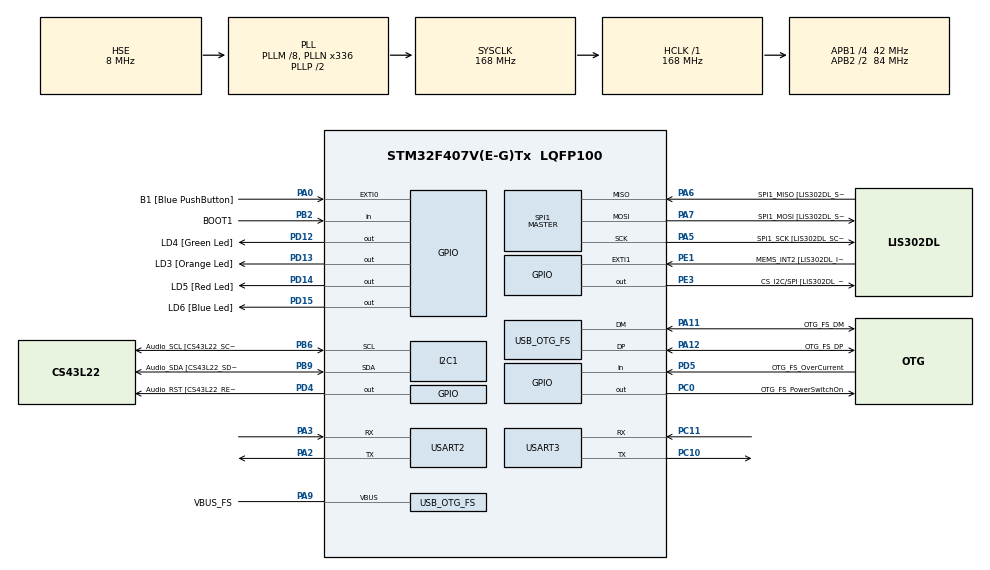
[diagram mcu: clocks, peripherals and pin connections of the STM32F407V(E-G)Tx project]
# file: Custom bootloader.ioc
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Mcu.Family=STM32F4
Mcu.Name=STM32F407V(E-G)Tx
Mcu.Package=LQFP100
NVIC.OTG_FS_IRQn=true\:0\:0\:false\:false\:true\:true\:true
NVIC.PriorityGroup=NVIC_PRIORITYGROUP_0
PA0-WKUP.GPIO_Label=B1 [Blue PushButton]
PA0-WKUP.GPIO_ModeDefaultEXTI=GPIO_MODE_EVT_RISING
PA0-WKUP.GPIO_PuPd=GPIO_NOPULL
PA0-WKUP.Signal=GPXTI0
PA10.GPIO_Label=OTG_FS_ID
PA10.GPIO_Mode=GPIO_MODE_AF_PP
PA10.GPIO_PuPd=GPIO_NOPULL
PA10.GPIO_Speed=GPIO_SPEED_FREQ_LOW
PA10.Signal=USB_OTG_FS_ID
PA11.GPIO_Label=OTG_FS_DM
PA11.GPIO_Mode=GPIO_MODE_AF_PP
PA11.GPIO_PuPd=GPIO_NOPULL
PA11.GPIO_Speed=GPIO_SPEED_FREQ_LOW
PA11.Mode=Host_Only
PA11.Signal=USB_OTG_FS_DM
PA12.GPIO_Label=OTG_FS_DP
PA12.GPIO_Mode=GPIO_MODE_AF_PP
PA12.GPIO_PuPd=GPIO_NOPULL
PA12.GPIO_Speed=GPIO_SPEED_FREQ_LOW
PA12.Mode=Host_Only
PA12.Signal=USB_OTG_FS_DP
PA13.GPIO_Label=SWDIO
PA13.Mode=Serial_Wire
PA13.Signal=SYS_JTMS-SWDIO
PA14.GPIO_Label=SWCLK
PA14.Mode=Serial_Wire
PA14.Signal=SYS_JTCK-SWCLK
PA2.Mode=Asynchronous
PA2.Signal=USART2_TX
PA3.Mode=Asynchronous
PA3.Signal=USART2_RX
PA4.GPIO_Label=I2S3_WS [CS43L22_LRCK]
PA4.GPIO_Mode=GPIO_MODE_AF_PP
PA4.GPIO_PuPd=GPIO_NOPULL
PA4.GPIO_Speed=GPIO_SPEED_FREQ_LOW
PA4.Signal=I2S3_WS
PA5.GPIO_Label=SPI1_SCK [LIS302DL_SCL/SPC]
PA5.GPIO_Mode=GPIO_MODE_AF_PP
PA5.GPIO_PuPd=GPIO_NOPULL
PA5.GPIO_Speed=GPIO_SPEED_FREQ_LOW
PA5.Mode=Full_Duplex_Master
PA5.Signal=SPI1_SCK
PA6.GPIO_Label=SPI1_MISO [LIS302DL_SDO]
PA6.GPIO_Mode=GPIO_MODE_AF_PP
PA6.GPIO_PuPd=GPIO_NOPULL
PA6.GPIO_Speed=GPIO_SPEED_FREQ_LOW
PA6.Mode=Full_Duplex_Master
PA6.Signal=SPI1_MISO
PA7.GPIO_Label=SPI1_MOSI [LIS302DL_SDA/SDI/SDO]
PA7.GPIO_Mode=GPIO_MODE_AF_PP
PA7.GPIO_PuPd=GPIO_NOPULL
PA7.GPIO_Speed=GPIO_SPEED_FREQ_LOW
PA7.Mode=Full_Duplex_Master
PA7.Signal=SPI1_MOSI
PA9.GPIO_Label=VBUS_FS
PA9.GPIO_Mode=GPIO_MODE_INPUT
PA9.GPIO_PuPd=GPIO_NOPULL
PA9.Mode=Activate_VBUS
PA9.Signal=USB_OTG_FS_VBUS
PB10.GPIO_Label=CLK_IN [MP45DT02_CLK]
PB10.GPIO_Mode=GPIO_MODE_AF_PP
PB10.GPIO_PuPd=GPIO_NOPULL
PB10.GPIO_Speed=GPIO_SPEED_FREQ_LOW
PB10.Signal=I2S2_CK
PB2.GPIO_Label=BOOT1
PB2.GPIO_Mode=GPIO_MODE_INPUT
PB2.GPIO_PuPd=GPIO_NOPULL
PB2.Signal=GPIO_Input
PB3.GPIO_Label=SWO
PB3.Signal=SYS_JTDO-SWO
PB6.GPIO_Label=Audio_SCL [CS43L22_SCL]
PB6.GPIO_Mode=GPIO_MODE_AF_OD
PB6.GPIO_PuPd=GPIO_NOPULL
PB6.GPIO_Speed=GPIO_SPEED_FREQ_LOW
PB6.Mode=I2C
PB6.Signal=I2C1_SCL
PB9.GPIO_Label=Audio_SDA [CS43L22_SDA]
PB9.GPIO_Mode=GPIO_MODE_AF_OD
PB9.GPIO_PuPd=GPIO_NOPULL
PB9.GPIO_Speed=GPIO_SPEED_FREQ_LOW
PB9.Mode=I2C
PB9.Signal=I2C1_SDA
PC0.GPIO_Label=OTG_FS_PowerSwitchOn
PC0.GPIO_PuPd=GPIO_NOPULL
PC0.GPIO_Speed=GPIO_SPEED_FREQ_LOW
PC0.PinState=GPIO_PIN_SET
PC0.Signal=GPIO_Output
PC10.Mode=Asynchronous
PC10.Signal=USART3_TX
PC11.Mode=Asynchronous
PC11.Signal=USART3_RX
PC12.GPIO_Label=I2S3_SD [CS43L22_SDIN]
PC12.GPIO_Mode=GPIO_MODE_AF_PP
PC12.GPIO_PuPd=GPIO_NOPULL
PC12.GPIO_Speed=GPIO_SPEED_FREQ_LOW
PC12.Signal=I2S3_SD
PC14-OSC32_IN.GPIO_Label=PC14-OSC32_IN
PC14-OSC32_IN.Mode=LSE-External-Oscillator
PC14-OSC32_IN.Signal=RCC_OSC32_IN
PC15-OSC32_OUT.GPIO_Label=PC15-OSC32_OUT
PC15-OSC32_OUT.Mode=LSE-External-Oscillator
PC15-OSC32_OUT.Signal=RCC_OSC32_OUT
PC3.GPIO_Label=PDM_OUT [MP45DT02_DOUT]
PC3.GPIO_Mode=GPIO_MODE_AF_PP
PC3.GPIO_PuPd=GPIO_NOPULL
PC3.GPIO_Speed=GPIO_SPEED_FREQ_LOW
PC3.Signal=I2S2_SD
PC7.GPIO_Label=I2S3_MCK [CS43L22_MCLK]
PC7.GPIO_Mode=GPIO_MODE_AF_PP
PC7.GPIO_PuPd=GPIO_NOPULL
PC7.GPIO_Speed=GPIO_SPEED_FREQ_LOW
PC7.Signal=I2S3_MCK
PD12.GPIO_Label=LD4 [Green Led]
PD12.GPIO_PuPd=GPIO_NOPULL
PD12.GPIO_Speed=GPIO_SPEED_FREQ_LOW
PD12.Signal=GPIO_Output
PD13.GPIO_Label=LD3 [Orange Led]
PD13.GPIO_PuPd=GPIO_NOPULL
PD13.GPIO_Speed=GPIO_SPEED_FREQ_LOW
PD13.Signal=GPIO_Output
PD14.GPIO_Label=LD5 [Red Led]
PD14.GPIO_PuPd=GPIO_NOPULL
PD14.GPIO_Speed=GPIO_SPEED_FREQ_LOW
PD14.Signal=GPIO_Output
PD15.GPIO_Label=LD6 [Blue Led]
PD15.GPIO_PuPd=GPIO_NOPULL
PD15.GPIO_Speed=GPIO_SPEED_FREQ_LOW
PD15.Signal=GPIO_Output
PD4.GPIO_Label=Audio_RST [CS43L22_RESET]
PD4.GPIO_PuPd=GPIO_NOPULL
PD4.GPIO_Speed=GPIO_SPEED_FREQ_LOW
PD4.Signal=GPIO_Output
PD5.GPIO_Label=OTG_FS_OverCurrent
PD5.GPIO_Mode=GPIO_MODE_INPUT
PD5.GPIO_PuPd=GPIO_NOPULL
PD5.Signal=GPIO_Input
PE1.GPIO_Label=MEMS_INT2 [LIS302DL_INT2]
PE1.GPIO_ModeDefaultEXTI=GPIO_MODE_EVT_RISING
PE1.GPIO_PuPd=GPIO_NOPULL
PE1.Signal=GPXTI1
PE3.GPIO_Label=CS_I2C/SPI [LIS302DL_CS_I2C/SPI]
PE3.GPIO_PuPd=GPIO_NOPULL
PE3.GPIO_Speed=GPIO_SPEED_FREQ_LOW
PE3.Signal=GPIO_Output
PH0-OSC_IN.GPIO_Label=PH0-OSC_IN
PH0-OSC_IN.Mode=HSE-External-Oscillator
PH0-OSC_IN.Signal=RCC_OSC_IN
PH1-OSC_OUT.GPIO_Label=PH1-OSC_OUT
PH1-OSC_OUT.Mode=HSE-External-Oscillator
PH1-OSC_OUT.Signal=RCC_OSC_OUT
ProjectManager.HeapSize=0x200
ProjectManager.StackSize=0x400
ProjectManager.TargetToolchain=MDK-ARM V5.27
RCC.48MHZClocksFreq_Value=48000000
RCC.AHBFreq_Value=168000000
RCC.APB1CLKDivider=RCC_HCLK_DIV4
RCC.APB1Freq_Value=42000000
RCC.APB1TimFreq_Value=84000000
RCC.APB2CLKDivider=RCC_HCLK_DIV2
RCC.APB2Freq_Value=84000000
RCC.APB2TimFreq_Value=168000000
RCC.CortexFreq_Value=168000000
RCC.HCLKFreq_Value=168000000
RCC.HSE_VALUE=8000000
RCC.HSI_VALUE=16000000
RCC.PLLM=8
RCC.PLLN=336
RCC.PLLQ=7
RCC.SYSCLKFreq_VALUE=168000000
RCC.SYSCLKSource=RCC_SYSCLKSOURCE_PLLCLK
RCC.VCOOutputFreq_Value=336000000
SPI1.BaudRatePrescaler-Full_Duplex_Master=SPI_BAUDRATEPRESCALER_2
SPI1.CalculateBaudRate-Full_Duplex_Master=42.0 MBits/s
SPI1.Direction=SPI_DIRECTION_2LINES
SPI1.Mode=SPI_MODE_MASTER
SPI1.Mode-Full_Duplex_Master=SPI_MODE_MASTER
SPI1.VirtualType=VM_MASTER
USART2.VirtualMode=VM_ASYNC
USART3.VirtualMode=VM_ASYNC
USB_OTG_FS.VirtualMode=Host_Only
USB_OTG_FS.phy_itface=HCD_PHY_EMBEDDED
VP_CRC_VS_CRC.Mode=CRC_Activate
board=STM32F407G-DISC1

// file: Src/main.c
/* USER CODE BEGIN Header */
/**
  ******************************************************************************
  * @file           : main.c
  * @brief          : Main program body
  ******************************************************************************
  * @attention
  *
  * <h2><center>&copy; Copyright (c) 2019 STMicroelectronics.
  * All rights reserved.</center></h2>
  *
  * This software component is licensed by ST under Ultimate Liberty license
  * SLA0044, the "License"; You may not use this file except in compliance with
  * the License. You may obtain a copy of the License at:
  *                             www.st.com/SLA0044
  *
  ******************************************************************************
  */
/* USER CODE END Header */

#include "main.h"

/* USER CODE BEGIN Includes */
#include <stdarg.h>
#include <string.h>
/* USER CODE END Includes */

/* USER CODE BEGIN PM */
#define FBL_DEBUG_MSG_EN
#define	FBL_UART_RX_LEN					(200U)

/* Define length response for each command */
#define FBL_GET_VERSION_ANSWER_LENGTH					(1U)
#define FBL_GET_CID_ANSWER_LENGTH							(2U)
#define FBL_GET_RDP_ANSWER_LENGTH							(1U)
#define FBL_GO_TO_ADDRESS_ANSWER_LENGTH		    (1U)
#define FBL_ERASE_ANSWER_LENGTH		    				(1U)
#define FBL_WRITE_ANSWER_LENGTH		    				(1U)
#define FBL_RW_PROTECT_LENGTH									(2U)

#define FBL_GENERIC_NO_ERROR									(0xCC)
#define FBL_GENERIC_ERROR											(0xAA)

#define FBL_ADDRESS_INVALID										(0x0C)
#define FBL_ADDRESS_VALID											(0x0A)

#define FBL_INVALID_SECTOR_NUMBER							(0x0D)
#define FBL_INVALID_NUMBER_SECTORS						(0x0B)
/* USER CODE END PM */

CRC_HandleTypeDef hcrc;

I2C_HandleTypeDef hi2c1;

SPI_HandleTypeDef hspi1;

UART_HandleTypeDef huart2;
UART_HandleTypeDef huart3;

HCD_HandleTypeDef hhcd_USB_OTG_FS;

/* USER CODE BEGIN PV */

#define FBL_UART_CHANNEL_DEBUG_INTERFACE				(&huart3)

uint8_t auc8UartRxBuffer[FBL_UART_RX_LEN];

uint8_t aucSupportedCommands[] = {
															 FBL_FLASH_BINARY_FILE,
                               FBL_GET_VER ,
                               FBL_GET_HELP,
                               FBL_GET_CID,
                               FBL_GET_RDP_STATUS,
                               FBL_GO_TO_ADDR,
                               FBL_FLASH_ERASE,
                               FBL_MEM_WRITE,
															 FBL_EN_RW_PROTECT,
														   FBL_MEM_READ,
                               FBL_READ_SECTOR_P_STATUS,
															 FBL_OTP_READ,
															 FBL_DIS_R_W_PROTECT} ;

/* USER CODE END PV */

void SystemClock_Config(void);
static void MX_GPIO_Init(void);
static void MX_CRC_Init(void);
static void MX_I2C1_Init(void);
static void MX_SPI1_Init(void);
static void MX_USART2_UART_Init(void);
static void MX_USB_OTG_FS_HCD_Init(void);
static void MX_USART3_UART_Init(void);
/* USER CODE BEGIN PFP */
static void FBL_vPrintMsg(char *format,...);
uint16_t FBL_Get_Mcu_ID(void);
uint8_t FBL_Get_RDP(void);
uint16_t FBL_Verify_Address(uint32_t ulAddress);
uint8_t FBL_ucExecute_MemoryWrite(uint8_t *pucBuffer, uint32_t ulAddress, uint32_t ulLen);
uint8_t FBL_ucExecute_MemoryRead(uint32_t ulAddress, uint8_t ucLen);
uint8_t FBL_Modify_RW_Protection(uint8_t u8Sectors, uint8_t u8ProtectionMode, uint8_t uc8EN);
uint16_t FBL_vRw_ProtectionStatus(void);
/* USER CODE END PFP */

int main(void)
{

  /* MCU Configuration--------------------------------------------------------*/

  /* Reset of all peripherals, Initializes the Flash interface and the Systick. */
  HAL_Init();

  /* Configure the system clock */
  SystemClock_Config();

  /* Initialize all configured peripherals */
  MX_GPIO_Init();
  MX_CRC_Init();
  MX_I2C1_Init();
  MX_SPI1_Init();
  MX_USART2_UART_Init();
  MX_USB_OTG_FS_HCD_Init();
  MX_USART3_UART_Init();
  /* USER CODE BEGIN 2 */
	char somedata[] = "Hello from the bootloader";
  /* USER CODE END 2 */

  /* Infinite loop */
  while (1)
  {

    /* USER CODE BEGIN 3 */

		FBL_vPrintMsg("FBL\n");
		uint32_t ul32CurrentTickValue = HAL_GetTick();
		while ( HAL_GetTick() <= (ul32CurrentTickValue + 500));
		//

		FBL_vUartReadData();

  }
  /* USER CODE END 3 */
}

void SystemClock_Config(void)
{
  RCC_OscInitTypeDef RCC_OscInitStruct = {0};
  RCC_ClkInitTypeDef RCC_ClkInitStruct = {0};

  /** Configure the main internal regulator output voltage
  */
  __HAL_RCC_PWR_CLK_ENABLE();
  __HAL_PWR_VOLTAGESCALING_CONFIG(PWR_REGULATOR_VOLTAGE_SCALE1);
  /** Initializes the CPU, AHB and APB busses clocks
  */
  RCC_OscInitStruct.OscillatorType = RCC_OSCILLATORTYPE_HSE;
  RCC_OscInitStruct.HSEState = RCC_HSE_ON;
  RCC_OscInitStruct.PLL.PLLState = RCC_PLL_ON;
  RCC_OscInitStruct.PLL.PLLSource = RCC_PLLSOURCE_HSE;
  RCC_OscInitStruct.PLL.PLLM = 8;
  RCC_OscInitStruct.PLL.PLLN = 336;
  RCC_OscInitStruct.PLL.PLLP = RCC_PLLP_DIV2;
  RCC_OscInitStruct.PLL.PLLQ = 7;
  if (HAL_RCC_OscConfig(&RCC_OscInitStruct) != HAL_OK)
  {
    Error_Handler();
  }
  /** Initializes the CPU, AHB and APB busses clocks
  */
  RCC_ClkInitStruct.ClockType = RCC_CLOCKTYPE_HCLK|RCC_CLOCKTYPE_SYSCLK
                              |RCC_CLOCKTYPE_PCLK1|RCC_CLOCKTYPE_PCLK2;
  RCC_ClkInitStruct.SYSCLKSource = RCC_SYSCLKSOURCE_PLLCLK;
  RCC_ClkInitStruct.AHBCLKDivider = RCC_SYSCLK_DIV1;
  RCC_ClkInitStruct.APB1CLKDivider = RCC_HCLK_DIV4;
  RCC_ClkInitStruct.APB2CLKDivider = RCC_HCLK_DIV2;

  if (HAL_RCC_ClockConfig(&RCC_ClkInitStruct, FLASH_LATENCY_5) != HAL_OK)
  {
    Error_Handler();
  }
}

static void MX_CRC_Init(void)
{

  hcrc.Instance = CRC;
  if (HAL_CRC_Init(&hcrc) != HAL_OK)
  {
    Error_Handler();
  }

}

static void MX_I2C1_Init(void)
{

  hi2c1.Instance = I2C1;
  hi2c1.Init.ClockSpeed = 100000;
  hi2c1.Init.DutyCycle = I2C_DUTYCYCLE_2;
  hi2c1.Init.OwnAddress1 = 0;
  hi2c1.Init.AddressingMode = I2C_ADDRESSINGMODE_7BIT;
  hi2c1.Init.DualAddressMode = I2C_DUALADDRESS_DISABLE;
  hi2c1.Init.OwnAddress2 = 0;
  hi2c1.Init.GeneralCallMode = I2C_GENERALCALL_DISABLE;
  hi2c1.Init.NoStretchMode = I2C_NOSTRETCH_DISABLE;
  if (HAL_I2C_Init(&hi2c1) != HAL_OK)
  {
    Error_Handler();
  }

}

static void MX_SPI1_Init(void)
{

  /* SPI1 parameter configuration*/
  hspi1.Instance = SPI1;
  hspi1.Init.Mode = SPI_MODE_MASTER;
  hspi1.Init.Direction = SPI_DIRECTION_2LINES;
  hspi1.Init.DataSize = SPI_DATASIZE_8BIT;
  hspi1.Init.CLKPolarity = SPI_POLARITY_LOW;
  hspi1.Init.CLKPhase = SPI_PHASE_1EDGE;
  hspi1.Init.NSS = SPI_NSS_SOFT;
  hspi1.Init.BaudRatePrescaler = SPI_BAUDRATEPRESCALER_2;
  hspi1.Init.FirstBit = SPI_FIRSTBIT_MSB;
  hspi1.Init.TIMode = SPI_TIMODE_DISABLE;
  hspi1.Init.CRCCalculation = SPI_CRCCALCULATION_DISABLE;
  hspi1.Init.CRCPolynomial = 10;
  if (HAL_SPI_Init(&hspi1) != HAL_OK)
  {
    Error_Handler();
  }

}

static void MX_USART2_UART_Init(void)
{

  huart2.Instance = USART2;
  huart2.Init.BaudRate = 115200;
  huart2.Init.WordLength = UART_WORDLENGTH_8B;
  huart2.Init.StopBits = UART_STOPBITS_1;
  huart2.Init.Parity = UART_PARITY_NONE;
  huart2.Init.Mode = UART_MODE_TX_RX;
  huart2.Init.HwFlowCtl = UART_HWCONTROL_NONE;
  huart2.Init.OverSampling = UART_OVERSAMPLING_16;
  if (HAL_UART_Init(&huart2) != HAL_OK)
  {
    Error_Handler();
  }

}

static void MX_USART3_UART_Init(void)
{

  huart3.Instance = USART3;
  huart3.Init.BaudRate = 115200;
  huart3.Init.WordLength = UART_WORDLENGTH_8B;
  huart3.Init.StopBits = UART_STOPBITS_1;
  huart3.Init.Parity = UART_PARITY_NONE;
  huart3.Init.Mode = UART_MODE_TX_RX;
  huart3.Init.HwFlowCtl = UART_HWCONTROL_NONE;
  huart3.Init.OverSampling = UART_OVERSAMPLING_16;
  if (HAL_UART_Init(&huart3) != HAL_OK)
  {
    Error_Handler();
  }

}

static void MX_USB_OTG_FS_HCD_Init(void)
{

  hhcd_USB_OTG_FS.Instance = USB_OTG_FS;
  hhcd_USB_OTG_FS.Init.Host_channels = 8;
  hhcd_USB_OTG_FS.Init.speed = HCD_SPEED_FULL;
  hhcd_USB_OTG_FS.Init.dma_enable = DISABLE;
  hhcd_USB_OTG_FS.Init.phy_itface = HCD_PHY_EMBEDDED;
  hhcd_USB_OTG_FS.Init.Sof_enable = DISABLE;
  if (HAL_HCD_Init(&hhcd_USB_OTG_FS) != HAL_OK)
  {
    Error_Handler();
  }

}

static void MX_GPIO_Init(void)
{
  GPIO_InitTypeDef GPIO_InitStruct = {0};

  /* GPIO Ports Clock Enable */
  __HAL_RCC_GPIOE_CLK_ENABLE();
  __HAL_RCC_GPIOC_CLK_ENABLE();
  __HAL_RCC_GPIOH_CLK_ENABLE();
  __HAL_RCC_GPIOA_CLK_ENABLE();
  __HAL_RCC_GPIOB_CLK_ENABLE();
  __HAL_RCC_GPIOD_CLK_ENABLE();

  /*Configure GPIO pin Output Level */
  HAL_GPIO_WritePin(CS_I2C_SPI_GPIO_Port, CS_I2C_SPI_Pin, GPIO_PIN_RESET);

  /*Configure GPIO pin Output Level */
  HAL_GPIO_WritePin(OTG_FS_PowerSwitchOn_GPIO_Port, OTG_FS_PowerSwitchOn_Pin, GPIO_PIN_SET);

  /*Configure GPIO pin Output Level */
  HAL_GPIO_WritePin(GPIOD, LD4_Pin|LD3_Pin|LD5_Pin|LD6_Pin
                          |Audio_RST_Pin, GPIO_PIN_RESET);

  /*Configure GPIO pin : CS_I2C_SPI_Pin */
  GPIO_InitStruct.Pin = CS_I2C_SPI_Pin;
  GPIO_InitStruct.Mode = GPIO_MODE_OUTPUT_PP;
  GPIO_InitStruct.Pull = GPIO_NOPULL;
  GPIO_InitStruct.Speed = GPIO_SPEED_FREQ_LOW;
  HAL_GPIO_Init(CS_I2C_SPI_GPIO_Port, &GPIO_InitStruct);

  /*Configure GPIO pin : OTG_FS_PowerSwitchOn_Pin */
  GPIO_InitStruct.Pin = OTG_FS_PowerSwitchOn_Pin;
  GPIO_InitStruct.Mode = GPIO_MODE_OUTPUT_PP;
  GPIO_InitStruct.Pull = GPIO_NOPULL;
  GPIO_InitStruct.Speed = GPIO_SPEED_FREQ_LOW;
  HAL_GPIO_Init(OTG_FS_PowerSwitchOn_GPIO_Port, &GPIO_InitStruct);

  /*Configure GPIO pin : PDM_OUT_Pin */
  GPIO_InitStruct.Pin = PDM_OUT_Pin;
  GPIO_InitStruct.Mode = GPIO_MODE_AF_PP;
  GPIO_InitStruct.Pull = GPIO_NOPULL;
  GPIO_InitStruct.Speed = GPIO_SPEED_FREQ_LOW;
  GPIO_InitStruct.Alternate = GPIO_AF5_SPI2;
  HAL_GPIO_Init(PDM_OUT_GPIO_Port, &GPIO_InitStruct);

  /*Configure GPIO pin : B1_Pin */
  GPIO_InitStruct.Pin = B1_Pin;
  GPIO_InitStruct.Mode = GPIO_MODE_EVT_RISING;
  GPIO_InitStruct.Pull = GPIO_NOPULL;
  HAL_GPIO_Init(B1_GPIO_Port, &GPIO_InitStruct);

  /*Configure GPIO pin : I2S3_WS_Pin */
  GPIO_InitStruct.Pin = I2S3_WS_Pin;
  GPIO_InitStruct.Mode = GPIO_MODE_AF_PP;
  GPIO_InitStruct.Pull = GPIO_NOPULL;
  GPIO_InitStruct.Speed = GPIO_SPEED_FREQ_LOW;
  GPIO_InitStruct.Alternate = GPIO_AF6_SPI3;
  HAL_GPIO_Init(I2S3_WS_GPIO_Port, &GPIO_InitStruct);

  /*Configure GPIO pin : BOOT1_Pin */
  GPIO_InitStruct.Pin = BOOT1_Pin;
  GPIO_InitStruct.Mode = GPIO_MODE_INPUT;
  GPIO_InitStruct.Pull = GPIO_NOPULL;
  HAL_GPIO_Init(BOOT1_GPIO_Port, &GPIO_InitStruct);

  /*Configure GPIO pin : CLK_IN_Pin */
  GPIO_InitStruct.Pin = CLK_IN_Pin;
  GPIO_InitStruct.Mode = GPIO_MODE_AF_PP;
  GPIO_InitStruct.Pull = GPIO_NOPULL;
  GPIO_InitStruct.Speed = GPIO_SPEED_FREQ_LOW;
  GPIO_InitStruct.Alternate = GPIO_AF5_SPI2;
  HAL_GPIO_Init(CLK_IN_GPIO_Port, &GPIO_InitStruct);

  /*Configure GPIO pins : LD4_Pin LD3_Pin LD5_Pin LD6_Pin
                           Audio_RST_Pin */
  GPIO_InitStruct.Pin = LD4_Pin|LD3_Pin|LD5_Pin|LD6_Pin
                          |Audio_RST_Pin;
  GPIO_InitStruct.Mode = GPIO_MODE_OUTPUT_PP;
  GPIO_InitStruct.Pull = GPIO_NOPULL;
  GPIO_InitStruct.Speed = GPIO_SPEED_FREQ_LOW;
  HAL_GPIO_Init(GPIOD, &GPIO_InitStruct);

  /*Configure GPIO pins : I2S3_MCK_Pin I2S3_SD_Pin */
  GPIO_InitStruct.Pin = I2S3_MCK_Pin|I2S3_SD_Pin;
  GPIO_InitStruct.Mode = GPIO_MODE_AF_PP;
  GPIO_InitStruct.Pull = GPIO_NOPULL;
  GPIO_InitStruct.Speed = GPIO_SPEED_FREQ_LOW;
  GPIO_InitStruct.Alternate = GPIO_AF6_SPI3;
  HAL_GPIO_Init(GPIOC, &GPIO_InitStruct);

  /*Configure GPIO pin : OTG_FS_OverCurrent_Pin */
  GPIO_InitStruct.Pin = OTG_FS_OverCurrent_Pin;
  GPIO_InitStruct.Mode = GPIO_MODE_INPUT;
  GPIO_InitStruct.Pull = GPIO_NOPULL;
  HAL_GPIO_Init(OTG_FS_OverCurrent_GPIO_Port, &GPIO_InitStruct);

  /*Configure GPIO pin : MEMS_INT2_Pin */
  GPIO_InitStruct.Pin = MEMS_INT2_Pin;
  GPIO_InitStruct.Mode = GPIO_MODE_EVT_RISING;
  GPIO_InitStruct.Pull = GPIO_NOPULL;
  HAL_GPIO_Init(MEMS_INT2_GPIO_Port, &GPIO_InitStruct);

}

/* USER CODE BEGIN 4 */

/*****************************************COMMENT FUNCTION TEMPLATE*******************************************************/

/*
*
* \brief
*	\param
* \return
*
*/

/*************************************************************************************************************************/

/*
*
* \brief  Prints a message over the USART3 debug loader interface.
*	\param  puc8Format: message format
* \param	... : arguments
* \return	-
*
*/

void FBL_vPrintMsg(char *puc8Format,...)
{

	char ucStr[80];

	va_list tArgs;
	va_start(tArgs, puc8Format);
	vsprintf(ucStr, puc8Format, tArgs);
	HAL_UART_Transmit(FBL_UART_CHANNEL_DEBUG_INTERFACE, (uint8_t *) ucStr,strlen(ucStr),HAL_MAX_DELAY);
	va_end(tArgs);

}

/*
*
* \brief 	Jumps to user application. User application is stored in sector 2, start address is 0x8008000
*	\param 	void
* \return	void. Prints a message on the debug interface.
*
*/

void FBL_vJumpToUserApplication(void)
{
	/* Declare void pointer function for user application reset handler */
	void (*pvAppResetHandler)(void);

	//FBL_vPrintMsg ("FBL_DEBUG_MSG: FBL_vJumpToUserApplication");

	/* Store user application MSP from flash sector 2) */

	uint32_t ulMainStackPointer = * (volatile uint32_t *) FLASH_SECTOR2_BASE_ADDRESS;

	/* Set user application MSP */
	__set_MSP(ulMainStackPointer);

	/* Store user application Reset Handler address from flash sector 2) */
	uint32_t ulResetHandlerAddr = * (volatile uint32_t *) (FLASH_SECTOR2_BASE_ADDRESS + 4);

	pvAppResetHandler = (void *) ulResetHandlerAddr;

	/* Jump to Reset Handler  of user application */

	pvAppResetHandler();

}

/*
*
* \brief Sends acknowlenge messages on UART debug interface.
*	\param ucLengthResponse: length to follow
* \return	-
*
*/

/*****************************************START DECLARE COMMON FUNCTIONS *******************************************************/

void FBL_vSendAck(uint8_t ucLengthResponse)
{
	uint8_t aucAck[2];
	aucAck[0] = FBL_ACK_VALUE;
	aucAck[1] = ucLengthResponse;
	HAL_UART_Transmit(FBL_UART_CHANNEL_DEBUG_INTERFACE, aucAck , 2, HAL_MAX_DELAY);
}

/*
*
* \brief Sends not acknowlenge messages on UART debug interface.
*	\param -
* \return	-
*
*/

void FBL_vSendNack(void)
{
	uint8_t ucNack = FBL_NACK_VALUE;
	HAL_UART_Transmit(FBL_UART_CHANNEL_DEBUG_INTERFACE, &ucNack , 1, HAL_MAX_DELAY);

}
/*
*
* \brief Verifies the CRC computed by the host application.
*	\param uint8_t *pucData: pointer to received data buffer
*	\param uint32_t ulLength: length of the received data buffer
*	\param uint32_t ulCRC: received CRC value to be compared with
* \return	FBL_CRC_SUCCESS or FBL_CRC_FAIL error codes
*
*/

uint8_t FBL_ucVerifyCRC(uint8_t *pucData, uint32_t ulLength,uint32_t ulCRCHost)
{

	  uint8_t  ucReturnValue = FBL_CRC_FAIL;
/* Choose to use HAL CRC library */
#if (FBL_CRC_VERIFY_VERSION == FBL_CRC_HAL)

	uint32_t ulCRCValue = 0xFF;
	uint32_t ulData;
	for(uint32_t ulI = 0; ulI < ulLength; ulI++)
	{
		uint32_t ulData = pucData[ulI];
		ulCRCValue = HAL_CRC_Accumulate(&hcrc,&ulData,1);
	}

	__HAL_CRC_DR_RESET(&hcrc);

	if (ulCRCValue == ulCRCHost)
	{
		ucReturnValue = FBL_CRC_SUCCESS;

	}

	return ucReturnValue;
#else

	uint32_t ulCRCValue = 0xFFFFFFFF;

	/* Outer loop for byte progessing */
	for(uint8_t ucI = 0; ucI < ulLength; ucI++)
	{
			ulCRCValue = ulCRCValue ^ pucData[ucI];
			/* Inner loop for bit processing */
			for (uint8_t ucJ = 0; ucJ < 32; ucJ++)
			{
				if( ulCRCValue & 0x80000000)
				{
					ulCRCValue = (ulCRCValue << 1) ^ FBL_CRC_POLYNOME;
				}
				else
				{
					ulCRCValue = (ulCRCValue << 1);
				}
			}
	}

	/* Check if the computed value is the same as the received value */
	if (ulCRCValue == ulCRCHost)
	{
		ucReturnValue = FBL_CRC_SUCCESS;
	}
#endif
		return ucReturnValue;
}

/*
*
* \brief Transmits data on UART debug interface
*	\param uint8_t *pucBuffer: transmit buffer
*	\param uint32_t ulLength: transmit buffer length
* \return	-
*
*/
void FBL_vUartWriteData(uint8_t *pucBuffer, uint32_t ulLength)
{
	HAL_UART_Transmit(FBL_UART_CHANNEL_DEBUG_INTERFACE,pucBuffer,ulLength,HAL_MAX_DELAY);
}

/*****************************************STOP DECLARE COMMON FUNCTIONS *******************************************************/

/*****************************************START DECLARE GETVERS FUNCTIONS *******************************************************/

/*
*
* \brief  Returns the flash bootloader current version
*	\param  -
* \return	FBL_VERSION
*
*/
uint8_t FBL_ucGetBootloaderVersion(void)
{
	return FBL_VERSION;
}

/*
*
* \brief  Calls FBL_ucGetBootloaderVersion and sends on UART debug interface the bootloader version.
*	\param  uint8_t *puc8RxBuffer: received command buffer
* \return	-
*
*/
void FBL_vGetVersion_Cmd(uint8_t *puc8RxBuffer)
{
	uint8_t ucVersion;
	uint32_t ulLength = puc8RxBuffer[0] + 1;
	uint32_t ulCRCHost = *((uint32_t *)(puc8RxBuffer + ulLength - 4));
	if(FBL_ucVerifyCRC(&puc8RxBuffer[0], ulLength-4,ulCRCHost) == FBL_CRC_SUCCESS)
	{
		FBL_vSendAck(FBL_GET_VERSION_ANSWER_LENGTH);
		ucVersion = FBL_ucGetBootloaderVersion();
		FBL_vUartWriteData(&ucVersion,1);
  }
	else
	{
		FBL_vSendNack();
	}

}
/*****************************************STOP DECLARE GETVERS FUNCTIONS *******************************************************/

/*****************************************START DECLARE GETHELP FUNCTIONS *******************************************************/

/*
*
* \brief	Handle for get help command. Transmits on UART debug interface the bootloader supported commands.
*	\param	uint8_t *puc8RxBuffer: received command buffer
* \return	-
*
*/
void FBL_vGetHelp_Cmd(uint8_t *puc8RxBuffer)
{
	 uint32_t ulLength = puc8RxBuffer[0] + 1;
	 uint32_t ulCRCHost = *((uint32_t *)(puc8RxBuffer + ulLength - 4));
	 if(FBL_ucVerifyCRC(&puc8RxBuffer[0], ulLength-4,ulCRCHost) == FBL_CRC_SUCCESS)
	 {
		FBL_vSendAck(sizeof(aucSupportedCommands));
	 	FBL_vUartWriteData(aucSupportedCommands,sizeof(aucSupportedCommands));
	 }
	 else
	 {
		FBL_vSendNack();
	 }
}

/*****************************************STOP DECLARE GETVERS FUNCTIONS *******************************************************/

/*****************************************START DECLARE GETCID FUNCTIONS *******************************************************/

/*
*
* \brief  Gets chip identification number
*	\param  -
* \return	-
*
*/
uint16_t FBL_Get_Mcu_ID(void)
{

	uint16_t usCID = (uint16_t) (DBGMCU->IDCODE) & 0x0FFF;

	return usCID;
}

/*
*
* \brief  Handler for get chip identification number.
*	\param  uint8_t *puc8RxBuffer: received command buffer
* \return	-
*
*/
void FBL_vGetCID_Cmd(uint8_t *puc8RxBuffer)
{
	 uint16_t usCID = 0;
	 uint32_t ulLength = puc8RxBuffer[0] + 1;
	 uint32_t ulCRCHost = *((uint32_t *)(puc8RxBuffer + ulLength - 4));
	 if(FBL_ucVerifyCRC(&puc8RxBuffer[0], ulLength-4,ulCRCHost) == FBL_CRC_SUCCESS)
	 {

		usCID = FBL_Get_Mcu_ID();
		FBL_vSendAck(FBL_GET_CID_ANSWER_LENGTH);
	 	FBL_vUartWriteData((uint8_t *) &usCID, 2);

	 }
	 else
	 {
		FBL_vSendNack();
	 }

}

/*****************************************STOP DECLARE GETCID FUNCTIONS *******************************************************/

/*****************************************START DECLARE GETRDP FUNCTIONS *******************************************************/

/*
*
* \brief  Reads the option bytes from 0x1FFFC000.
*	\param  -
* \return	uint8. Returns the bits 15:8 of RDP.
*
*/
uint8_t FBL_Get_RDP(void)
{

	volatile uint32_t *pul_Address = (uint32_t *) 0x1FFFC000;

  return (uint8_t) ((*pul_Address) >> 8);
}

/*
*
* \brief	Handler function for get read protection option byte command.
*	\param 	uint8_t *puc8RxBuffer: received command buffer
* \return	-
*
*/
void FBL_vGetRDP_Cmd(uint8_t *puc8RxBuffer)
{
	 uint8_t ucRDP = 0;
	 uint32_t ulLength = puc8RxBuffer[0] + 1;
	 uint32_t ulCRCHost = *((uint32_t *)(puc8RxBuffer + ulLength - 4));
	 if(FBL_ucVerifyCRC(&puc8RxBuffer[0], ulLength-4,ulCRCHost) == FBL_CRC_SUCCESS)
	 {

		ucRDP = FBL_Get_RDP();
		FBL_vSendAck(FBL_GET_RDP_ANSWER_LENGTH);
	 	FBL_vUartWriteData((uint8_t *)&ucRDP, 1);

	 }
	 else
	 {
		FBL_vSendNack();
	 }

}

/*****************************************STOP DECLARE GETRDP FUNCTIONS *******************************************************/

/*****************************************START DECLARE GOTOADDRESS FUNCTIONS *******************************************************/

/*
*
* \brief	Verifies if the address is in the valid range addresses.
*	\param	uint32_t ulAddress: address to be checked
* \return	uint16. FBL_ADDRESS_VALID or FBL_ADDRESS_INVALID
*
*/
uint16_t FBL_Verify_Address(uint32_t ulAddress)
{
	if (((ulAddress  >=FLASH_BASE) && (ulAddress  <=FLASH_END))  ||
			((ulAddress  >=SRAM1_BASE) && (ulAddress  <=SRAM1_BASE + FBL_SRAM1_SIZE)) ||
			((ulAddress  >=SRAM2_BASE) && (ulAddress  <=SRAM2_BASE + FBL_SRAM2_SIZE)) ||
			((ulAddress  >=BKPSRAM_BASE) && (ulAddress  <=BKPSRAM_BASE + FBL_BKPSRAM_SIZE)))
	{

			return FBL_ADDRESS_VALID;

	}
	else
	{
			return FBL_ADDRESS_INVALID;

	}

}
/*
*
* \brief  Handler function for go to address command.
*	\param	uint8_t *puc8RxBuffer: received command buffer
* \return	-
*
*/
void FBL_vGoToAddress_Cmd(uint8_t *puc8RxBuffer)
{
	 uint8_t ucStatus;
	 uint32_t ulAddress;
	 uint32_t ulLength = puc8RxBuffer[0] + 1;
	 /*
			Get CRC position from rx command. Position to the end of the command puc8RxBuffer + ulLength
			and then subtract 4 because CRC represents the last 4 bytes in the command
	 */
	 uint32_t ulCRCHost = *((uint32_t *)(puc8RxBuffer + ulLength - 4));
	 if(FBL_ucVerifyCRC(&puc8RxBuffer[0], ulLength-4,ulCRCHost) == FBL_CRC_SUCCESS)
	 {
		FBL_vSendAck(FBL_GO_TO_ADDRESS_ANSWER_LENGTH);
		/*
			Get address position from rx command
		*/
    ulAddress = *((uint32_t *)&puc8RxBuffer[2]);
		/*
		 Don't forget about the T bit to execute thumb instructions.
		 The program hands in HardFault_Handler when T bit is 0 because the cortex M doesn't support ARM instruction set.
		*/
		 if ((ulAddress & (uint32_t) 0x01) == (uint32_t) 0x00)
		 {
				ulAddress += 1;
		 }

		if(FBL_Verify_Address(ulAddress) == FBL_ADDRESS_VALID)
		{
			void (*FBL_Jump)(void) = (void *) ulAddress;
			ucStatus = FBL_ADDRESS_VALID;
			FBL_vUartWriteData(&ucStatus, 1);
			FBL_Jump();
		}
		else
		{
			ucStatus = FBL_ADDRESS_INVALID;
			FBL_vUartWriteData(&ucStatus, 1);
		}

	 }
	 else
	 {
		 FBL_vSendNack();
	 }
}

/*****************************************STOP DECLARE GOTOADDRESS FUNCTIONS *******************************************************/

/*****************************************START DECLARE FLASHERASE FUNCTIONS *******************************************************/

/*
*
* \brief  Handler function for flash erase command.
*	\param	uint8_t *puc8RxBuffer: incoming command buffer.
* \return	-
*
*/
void FBL_vFlashErase_Cmd(uint8_t *puc8RxBuffer)
{
	uint8_t ucReturnValue;
	uint32_t ulLength;
	uint32_t ulCRCHost;
	uint32_t ulError;
	FLASH_EraseInitTypeDef tFlash1;
	/*
		Get length and add 1 to include the total length computed by CRC
	*/
	ulLength = puc8RxBuffer[0] + 1;
	/*
		Get CRC position from rx command. Position to the end of the command puc8RxBuffer + ulLength
		and then subtract 4 because CRC represents the last 4 bytes in the command
	 */
	ulCRCHost = *((uint32_t *)(puc8RxBuffer + ulLength - 4));
	if(FBL_ucVerifyCRC(&puc8RxBuffer[0], ulLength-4,ulCRCHost) == FBL_CRC_SUCCESS)
	 {
		 FBL_vSendAck(FBL_ERASE_ANSWER_LENGTH);

		 if(puc8RxBuffer[2] > 8)
		 {
			 ucReturnValue = FBL_INVALID_SECTOR_NUMBER;
		 }

		 if((puc8RxBuffer[2] == 0xFF) || (puc8RxBuffer[2] <8))
		 {
			 /*
				When sector number is 0xFF the command performs a mass erase
			 */
			 if(puc8RxBuffer[2] == 0xFF)
			 {
				 tFlash1.TypeErase = FLASH_TYPEERASE_MASSERASE;
				 // tFlash1.Sector = puc8RxBuffer[2] - Does not matter
				 // tFlash1.NbSectors = puc8RxBuffer[3] - Does not matter
			 }
			 else
			 {
				  /*
						Check if the reference sector and the number of sectors do not overflow the flash memory sectors
				  */
				  if((8-puc8RxBuffer[2]) >= puc8RxBuffer[3])
					{
						/*
							Perform sector type erase
						*/
						tFlash1.TypeErase = FLASH_TYPEERASE_SECTORS;
						tFlash1.Sector = puc8RxBuffer[2];
						tFlash1.NbSectors = puc8RxBuffer[3];
					}
					else
					{
						ucReturnValue = FBL_INVALID_NUMBER_SECTORS;
					}
			 }
			 tFlash1.Banks = FLASH_BANK_1;
			 tFlash1.VoltageRange = FLASH_VOLTAGE_RANGE_3;
			 if ((ucReturnValue != FBL_INVALID_SECTOR_NUMBER) && (ucReturnValue != FBL_INVALID_NUMBER_SECTORS))
			 {
				 HAL_FLASH_Unlock();
				 ucReturnValue = (uint8_t) HAL_FLASHEx_Erase(&tFlash1, &ulError);
				 HAL_FLASH_Lock();
			 }
		 }

		 FBL_vUartWriteData((uint8_t *)&ucReturnValue, 1);
	 }
	else
	{
		FBL_vSendNack();
	}
}

/*****************************************STOP DECLARE FLASHERASE FUNCTIONS *******************************************************/

/*****************************************START DECLARE MEMORY WRITE FUNCTIONS *******************************************************/

/*
*
* \brief  Performs flash programming byte by byte.
*	\param	uint8_t *pucBuffer: input buffer that contains data to be write to memory.
*	\param  uint32_t ulAddress: address memory location where to write the incoming buffer.
*	\param  uint32_t ulLen: length of the incoming buffer.
* \return	FBL_GENERIC_NO_ERROR or HAL_FLASH_Program error
*
*/
uint8_t FBL_ucExecute_MemoryWrite(uint8_t *pucBuffer, uint32_t ulAddress, uint32_t ulLen)
{
	uint8_t ucReturnValue = FBL_GENERIC_NO_ERROR;
	HAL_FLASH_Unlock();

  for(uint32_t ulI = 0 ; ulI <ulLen ; ulI++)
    {
        /*
				Flash programming
			  */
        ucReturnValue = HAL_FLASH_Program(FLASH_TYPEPROGRAM_BYTE,ulAddress+ulI,pucBuffer[ulI] );
    }

  HAL_FLASH_Lock();

	return ucReturnValue;

}

/*
*
* \brief	Handler function for memory write command.
*	\param	uint8_t *puc8RxBuffer: incoming command buffer.
* \return	-
*
*/
void FBL_vMemoryWrite_Cmd(uint8_t *puc8RxBuffer)
{

	uint8_t ucReturnValue;
	uint32_t ulLength;
	uint32_t ulCRCHost;
	uint32_t ulMemoryAddress;
	uint32_t ulPayloadLength;

	/*
		Get length and add 1 to include the total length computed by CRC
	*/
	ulLength = puc8RxBuffer[0] + 1;
	/*
		Get CRC position from rx command. Position to the end of the command puc8RxBuffer + ulLength
		and then subtract 4 because CRC represents the last 4 bytes in the command
	*/
	ulCRCHost = *((uint32_t *)(puc8RxBuffer + ulLength - 4));
	/*
		Get the base memory address
	*/
	ulMemoryAddress = *((uint32_t *)(&puc8RxBuffer[2]));
	/*
		Get the payload length
	*/
	ulPayloadLength = puc8RxBuffer[6];
	if(FBL_ucVerifyCRC(&puc8RxBuffer[0], ulLength-4,ulCRCHost) == FBL_CRC_SUCCESS)
	{
		FBL_vSendAck(FBL_WRITE_ANSWER_LENGTH);
		/*
			Check the validity of the base memory address
		*/
		if(FBL_Verify_Address(ulMemoryAddress) == FBL_ADDRESS_VALID)
		{

		 ucReturnValue = FBL_ucExecute_MemoryWrite(&puc8RxBuffer[7],ulMemoryAddress,ulPayloadLength);

		}
		else
		{

			ucReturnValue = FBL_ADDRESS_INVALID;
		}

		FBL_vUartWriteData((uint8_t *)&ucReturnValue, 1);
	}
	else
	{
		FBL_vSendNack();
	}

}
/*****************************************STOP DECLARE MEMORY WRITE FUNCTIONS *******************************************************/

/*****************************************START DECLARE MEMORY EN/DIS READ/WRITE PROTECT FUNCTIONS *******************************************************/

/*
*
* \brief  Handler function for modify read/write protection command.
*	\param  uint8_t u8Sectors: each bit represents a flash memory sector
*	\param  uint8_t u8ProtectionMode: 0 or 1. Decides the protection mode, the value is written in SPRMOD register
*	\param  uint8_t uc8EN: keeps a flag value in order to enable or disable R/W protection
* \return	FBL_GENERIC_NO_ERROR or FBL_GENERIC_ERROR
*
*/
uint8_t FBL_Modify_RW_Protection(uint8_t u8Sectors, uint8_t u8ProtectionMode, uint8_t uc8EN)
{
	volatile uint32_t *pulOPTCR = (uint32_t*) 0x40023C14;
	uint8_t ucReturnValue = FBL_GENERIC_NO_ERROR;
	if(uc8EN)
	{
		/*
				Enable R/W protection
		*/
		if (u8ProtectionMode == 0x00)
		{

				HAL_FLASH_OB_Unlock();

				while(__HAL_FLASH_GET_FLAG(FLASH_FLAG_BSY) != RESET);
				 /*
					Set SPRMOD to 0.
			  */
				*pulOPTCR &= ~(1 << 31); // default value is  0x0FFF AAED
			  *pulOPTCR &= ~ (u8Sectors << 16);
			  /*
					Trigger option start.
			  */
				*pulOPTCR |= ( 1 << 1);
				while(__HAL_FLASH_GET_FLAG(FLASH_FLAG_BSY) != RESET);
				HAL_FLASH_OB_Lock();

		}
		else if (u8ProtectionMode == 0x01)
		{
				HAL_FLASH_OB_Unlock();

				while(__HAL_FLASH_GET_FLAG(FLASH_FLAG_BSY) != RESET);
			  /*
					Set SPRMOD to 1.
			  */
				*pulOPTCR = *pulOPTCR | (1 << 31);

			  *pulOPTCR &= ~(0xff << 16);
				*pulOPTCR |= (u8Sectors << 16);

				/*
					Trigger option start.
			  */
				*pulOPTCR |= ( 1 << 1);
				while(__HAL_FLASH_GET_FLAG(FLASH_FLAG_BSY) != RESET);
				HAL_FLASH_OB_Lock();

		}
		else
		{
			ucReturnValue = FBL_GENERIC_ERROR;
		}
	}
	else
	{
		/*
			Disable R/W protection
		*/
		HAL_FLASH_OB_Unlock();

		while(__HAL_FLASH_GET_FLAG(FLASH_FLAG_BSY) != RESET);

		*pulOPTCR = *pulOPTCR & ~(1<<31); // default value is  0x0FFF AAED
		*pulOPTCR = *pulOPTCR | FLASH_OPTCR_nWRP_Msk;
		/*
			Trigger option start.
		*/
		*pulOPTCR = *pulOPTCR | FLASH_OPTCR_OPTSTRT_Msk;

		while(__HAL_FLASH_GET_FLAG(FLASH_FLAG_BSY) != RESET);
		HAL_FLASH_OB_Lock();
	}

	return ucReturnValue;
}

/*
*
* \brief  Handler function for enable write and read protection command.
*	\param 	uint8_t *puc8RxBuffer: incoming command buffer.
* \return	-
*
*/

void FBL_vEnable_RW_Protect_Cmd(uint8_t *puc8RxBuffer)
{
	uint8_t ucReturnValue;
	uint32_t ulLength;
	uint32_t ulCRCHost;
	#define ENABLE_RW (1U)

	ulLength = puc8RxBuffer[0] + 1;
	ulCRCHost = *((uint32_t *)(puc8RxBuffer + ulLength - 4));
	if(FBL_ucVerifyCRC(&puc8RxBuffer[0], ulLength-4,ulCRCHost) == FBL_CRC_SUCCESS)
	{
		 FBL_vSendAck(FBL_RW_PROTECT_LENGTH);

		 ucReturnValue = FBL_Modify_RW_Protection(puc8RxBuffer[2],puc8RxBuffer[3],ENABLE_RW);

		 FBL_vUartWriteData((uint8_t *)&ucReturnValue, 1);

	}
	else
	{
		FBL_vSendNack();
	}

}

/*
*
* \brief  Handler function for read protection status command.
*	\param  uint8_t *pucBuffer: input buffer that contains data to be write to memory.
* \return	-
*
*/

void FBL_vDisable_RW_Protect_Cmd(uint8_t *puc8RxBuffer)
{
	uint8_t ucReturnValue;
	uint32_t ulLength;
	uint32_t ulCRCHost;
	#define DISABLE_RW (0U)

	ulLength = puc8RxBuffer[0] + 1;
	ulCRCHost = *((uint32_t *)(puc8RxBuffer + ulLength - 4));
	if(FBL_ucVerifyCRC(&puc8RxBuffer[0], ulLength-4,ulCRCHost) == FBL_CRC_SUCCESS)
	{
		 FBL_vSendAck(FBL_RW_PROTECT_LENGTH);

		 ucReturnValue = FBL_Modify_RW_Protection(puc8RxBuffer[2],puc8RxBuffer[3],DISABLE_RW);

		 FBL_vUartWriteData((uint8_t *)&ucReturnValue, 1);

	}
	else
	{
		FBL_vSendNack();
	}

}

/*****************************************STOP DECLARE MEMORY EN/DIS READ/WRITE PROTECT FUNCTIONS *******************************************************/

/*****************************************START DECLARE MEMORY READ PROTECTION STATUS FUNCTIONS *******************************************************/

/*
*
* \brief Read protection status option byte
*	\param -
* \return	uint16, the value of WRP bits
*
*/
uint16_t FBL_vRw_ProtectionStatus(void)
{

	FLASH_OBProgramInitTypeDef OBInit;

	HAL_FLASH_OB_Unlock();

	HAL_FLASHEx_OBGetConfig(&OBInit);

	HAL_FLASH_Lock();

	return (uint16_t)OBInit.WRPSector;

}

/*
*
* \brief Handler function for read protection status command.
*	\param uint8_t *puc8RxBuffer: incoming command buffer.
* \return	-
*
*/
void FBL_vRead_Sector_ProtectionStatus_Cmd(uint8_t *puc8RxBuffer)
{
	uint8_t ucReturnValue;
	uint32_t ulLength;
	uint32_t ulCRCHost;
	volatile uint32_t *pulOPTCR = (uint32_t*) 0x40023C14;

	ulLength = puc8RxBuffer[0] + 1;
	ulCRCHost = *((uint32_t *)(puc8RxBuffer + ulLength - 4));
	if(FBL_ucVerifyCRC(&puc8RxBuffer[0], ulLength-4,ulCRCHost) == FBL_CRC_SUCCESS)
	{
		 FBL_vSendAck(FBL_RW_PROTECT_LENGTH);

		 ucReturnValue = FBL_vRw_ProtectionStatus();

		 FBL_vUartWriteData((uint8_t *)&ucReturnValue, 1);
		 ucReturnValue = (uint8_t) (*pulOPTCR >> 31) ;
		 FBL_vUartWriteData((uint8_t *)&ucReturnValue, 1);
	}
	else
	{
		FBL_vSendNack();
	}

}

/*****************************************STOP DECLARE MEMORY READ PROTECTION STATUS WRITE FUNCTIONS *******************************************************/

/*****************************************START DECLARE MEMORY READ OTP FUNCTIONS *******************************************************/
/*
*
* \brief Handler function for read OTP register command.
*	\param uint8_t *puc8RxBuffer: incoming command buffer.
* \return	-
*
*/

void FBL_vRead_OTP_Cmd(uint8_t *puc8RxBuffer)
{
	uint8_t ucFlag = 0;
	uint8_t ucReturnValue = FBL_GENERIC_NO_ERROR;
	uint32_t ulLength;
	uint32_t ulCRCHost;
	uint8_t ucOTPBank;
	volatile uint32_t *pulOPT_Base = (uint32_t*) 0x1FFF7800;
  uint32_t ulOTP_DataSetValue;
	uint8_t  aucOTP_DataSetBytes[4];
	uint8_t  ucSizeOfDataSet = sizeof(aucOTP_DataSetBytes);
	ulLength = puc8RxBuffer[0] + 1;
	ulCRCHost = *((uint32_t *)(puc8RxBuffer + ulLength - 4));
	ucOTPBank = *((uint32_t *)(puc8RxBuffer + 2));

	if(ucOTPBank == 0x00)
	{
		pulOPT_Base = (uint32_t*) 0x1FFF7800;
	}
	else if(ucOTPBank == 0x01)
	{
	  pulOPT_Base = (uint32_t*) 0x1FFF7900;
	}
	else
	{
		ucFlag = 1;
	}

	if((FBL_ucVerifyCRC(&puc8RxBuffer[0], ulLength-4,ulCRCHost) == FBL_CRC_SUCCESS))
	{

		if (ucFlag == 0)
		{
		 FBL_vSendAck(0xFF);
		 //HAL_FLASH_Unlock();

		 for(uint8_t usI =1; usI <= 0x40; usI++)
		 {

				ulOTP_DataSetValue = (uint32_t) (*pulOPT_Base);
				pulOPT_Base = pulOPT_Base + 1;
				for (uint8_t ucJ = 0; ucJ <= 3; ucJ++)
			  {
					aucOTP_DataSetBytes[ucJ] = (uint8_t) (ulOTP_DataSetValue >> (ucJ * 8)) & 0x000000FF;
			  }

				FBL_vUartWriteData(aucOTP_DataSetBytes,ucSizeOfDataSet);

		 }

		// HAL_FLASH_Lock();
	 }
	 else
	 {
			FBL_vSendAck(0x01);
		  ucReturnValue = FBL_GENERIC_ERROR;
		  FBL_vUartWriteData((uint8_t *)&ucReturnValue, 1);
	 }
	}
	else
	{
		FBL_vSendNack();
	}

}

/*****************************************STOP DECLARE MEMORY READ OTP FUNCTIONS *******************************************************/

/*****************************************STOP DECLARE MEMORY READ FUNCTIONS *******************************************************/

/*
*
* \brief Performs a flash memory read.
*	\param uint32_t ulAddress: first address to be read
*	\param uint8_t ulLen: bytes to be read
* \return	Status of read operation.
*
*/
uint8_t FBL_ucExecute_MemoryRead(uint32_t ulAddress, uint8_t ucLen)
{
	uint8_t ucReturnValue = FBL_GENERIC_NO_ERROR;
	uint8_t ucDataLength;
	volatile uint32_t *pulAddress = (uint32_t*) ulAddress;
	ucDataLength = ucLen * 4;
	uint8_t aucData[ucDataLength];
	memset( aucData, 0, ucDataLength*sizeof(uint8_t) );
	//HAL_FLASH_Unlock();

  for(uint32_t ulI = 0 ; ulI < ucLen; ulI++)
  {
		  /* Read 4 bytes each for iteration */
			/* Byte 0 */
      *(aucData + 4* ulI + 0) = (uint8_t) ((*pulAddress) & 0x000000FF);
		  /* Byte 1 */
		  *(aucData + 4* ulI + 1)= (uint8_t) ((*pulAddress >> 8) & 0x000000FF);
			/* Byte 2 */
		  *(aucData + 4* ulI + 2) = (uint8_t) ((*pulAddress >> 16) & 0x000000FF);
		  /* Byte 3 */
		  *(aucData + 4* ulI + 3) = (uint8_t) ((*pulAddress >> 24) & 0x000000FF);

			pulAddress++;

  }
	FBL_vUartWriteData(aucData,ucLen * 4);
  //HAL_FLASH_Lock();

	return ucReturnValue;
}

/*
*
* \brief Handler function for read flash memory command.
*	\param uint8_t *puc8RxBuffer: incoming command buffer.
* \return	-
*
*/void FBL_vRead_MemoryCmd(uint8_t *puc8RxBuffer)
{

	uint8_t ucReturnValue;
	uint32_t ulLength;
	uint32_t ulCRCHost;
	uint32_t ulMemoryAddress;
	uint8_t ucLengthToRead;

	/*
		Get length and add 1 to include the total length computed by CRC
	*/
	ulLength = puc8RxBuffer[0] + 1;
	/*
		Get CRC position from rx command. Position to the end of the command puc8RxBuffer + ulLength
		and then subtract 4 because CRC represents the last 4 bytes in the command
	*/
	ulCRCHost = *((uint32_t *)(puc8RxBuffer + ulLength - 4));
	/*
		Get the base memory address
	*/
	ulMemoryAddress = *((uint32_t *)(&puc8RxBuffer[2]));
	/*
		Get the length to be read
	*/
	ucLengthToRead = puc8RxBuffer[6];
	if(FBL_ucVerifyCRC(&puc8RxBuffer[0], ulLength-4,ulCRCHost) == FBL_CRC_SUCCESS)
	{
		FBL_vSendAck(ucLengthToRead * 4);
		/*
			Check the validity of the base memory address
		*/
		if(FBL_Verify_Address(ulMemoryAddress) == FBL_ADDRESS_VALID)
		{

		 ucReturnValue = FBL_ucExecute_MemoryRead(ulMemoryAddress,ucLengthToRead);

		}
		else
		{
			ucReturnValue = FBL_ADDRESS_INVALID;
		}

		FBL_vUartWriteData((uint8_t *)&ucReturnValue, 1);
	}
	else
	{
		FBL_vSendNack();
	}

	/* not supported yet */

}
/*****************************************STOP DECLARE MEMORY READ FUNCTIONS *******************************************************/

/*
*
* \brief Main handler function of the bootloader.
*	\param -
* \return	-
*
*/
void FBL_vUartReadData(void)
{
	uint8_t ucReturnValue = FBL_NONEXISTENT_COMMAND;
	while(1)
	{
		/* Print debug message */
		//FBL_vPrintMsg("FBL_DEBUG_MSG: Enter in command mode. \n");
		/* Prepare buffer to receive data */
		memset(auc8UartRxBuffer,0,FBL_UART_RX_LEN);
		/* Wait for first byte. Fist byte represents the length of the command */
		HAL_UART_Receive(FBL_UART_CHANNEL_DEBUG_INTERFACE,auc8UartRxBuffer,1,FBL_UART_DELAY);
		/* Wait for the following bytes - command, parameters (or not) and CRC value */
		HAL_UART_Receive(FBL_UART_CHANNEL_DEBUG_INTERFACE,&auc8UartRxBuffer[1],*auc8UartRxBuffer,FBL_UART_DELAY);
		switch (auc8UartRxBuffer[1])
		{
				case FBL_GET_VER:
				FBL_vGetVersion_Cmd(auc8UartRxBuffer);
						break;
				case FBL_GET_HELP:
			  FBL_vGetHelp_Cmd(auc8UartRxBuffer);
						break;
				case FBL_GET_CID:
				FBL_vGetCID_Cmd(auc8UartRxBuffer);
						break;
				case FBL_GET_RDP_STATUS:
			  FBL_vGetRDP_Cmd(auc8UartRxBuffer);
						break;
				case FBL_GO_TO_ADDR:
				FBL_vGoToAddress_Cmd(auc8UartRxBuffer);
						break;
				case FBL_FLASH_ERASE:
			  FBL_vFlashErase_Cmd(auc8UartRxBuffer);
						break;
				case FBL_MEM_WRITE:
			  FBL_vMemoryWrite_Cmd(auc8UartRxBuffer);
						break;
				case FBL_EN_RW_PROTECT:
			  FBL_vEnable_RW_Protect_Cmd(auc8UartRxBuffer);
						break;
				case FBL_MEM_READ:
				FBL_vRead_MemoryCmd(auc8UartRxBuffer);
						break;
				case FBL_READ_SECTOR_P_STATUS:
				FBL_vRead_Sector_ProtectionStatus_Cmd(auc8UartRxBuffer);
						break;
				case FBL_OTP_READ:
				FBL_vRead_OTP_Cmd(auc8UartRxBuffer);
						break;
				case FBL_DIS_R_W_PROTECT:
				FBL_vDisable_RW_Protect_Cmd(auc8UartRxBuffer);
						break;
				case FBL_FLASH_BINARY_FILE:
				FBL_vMemoryWrite_Cmd(auc8UartRxBuffer);
						break;
				 default:
				//FBL_vPrintMsg("FBL_DEBUG_MSG:Invalid command code received from host \n");
				//FBL_vUartWriteData((uint8_t *)&ucReturnValue, 1);
						break;
		}
	}
}

/* USER CODE END 4 */

void Error_Handler(void)
{
}

/************************ (C) COPYRIGHT STMicroelectronics *****END OF FILE****/
